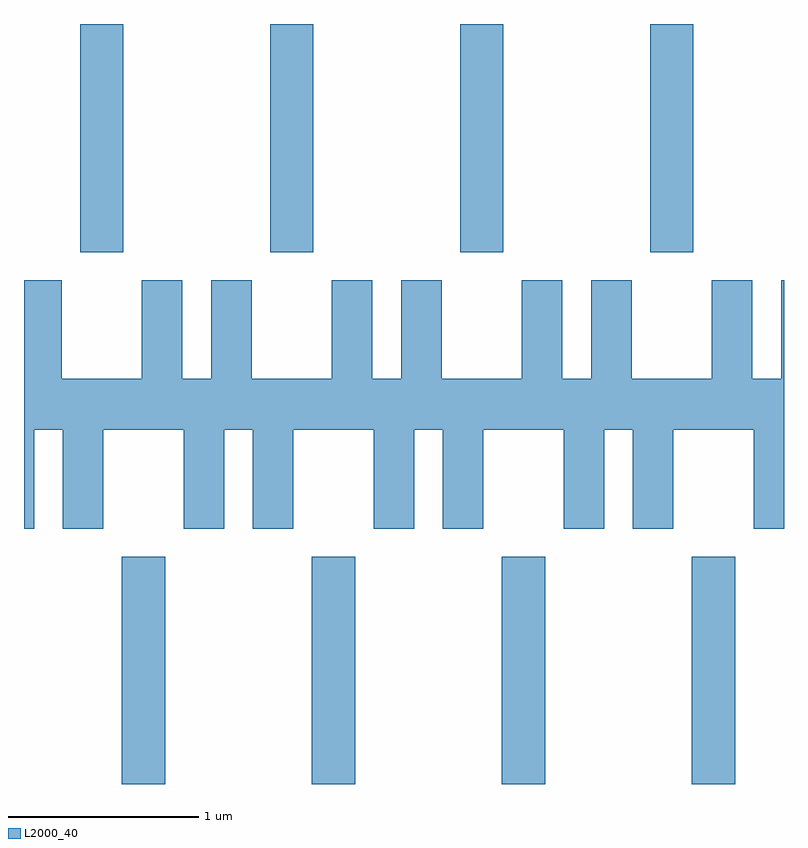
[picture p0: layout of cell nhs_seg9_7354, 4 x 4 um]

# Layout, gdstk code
import gdstk
lib = gdstk.Library(unit=1e-6, precision=1e-09)
def R(c, l, rs):  # rectangles x0, y0, x1, y1
    for r in rs: c.add(gdstk.rectangle(r[:2], r[2:], *l))
def A(c, l, x, y, w, h, nx, ny, dx, dy):  # array of equal rectangles
    R(c, l, [(x+i*dx, y+j*dy, x+i*dx+w, y+j*dy+h) for i in range(nx) for j in range(ny)])
def P(c, l, *ps):  # polygons
    for p in ps: c.add(gdstk.Polygon(p, *l))
L2000_40 = (2000, 40)

nhs_seg9_7354 = lib.new_cell('nhs_seg9_7354')
A(nhs_seg9_7354, L2000_40, 404.126, 1954.432, 0.228, 1.197, 4, 1, 1, 0)
A(nhs_seg9_7354, L2000_40, 403.906, 1957.231, 0.228, 1.201, 4, 1, 1, 0)
P(nhs_seg9_7354, L2000_40, [(403.664,1956.296),(403.816,1956.296),(403.816,1955.776),(404.029,1955.776),(404.029,1956.296),(404.451,1956.296),(404.451,1955.776),(404.664,1955.776),(404.664,1956.296),(404.816,1956.296),(404.816,1955.776),(405.029,1955.776),(405.029,1956.296),(405.451,1956.296),(405.451,1955.776),(405.664,1955.776),(405.664,1956.296),(405.816,1956.296),(405.816,1955.776),(406.029,1955.776),(406.029,1956.296),(406.451,1956.296),(406.451,1955.776),(406.664,1955.776),(406.664,1956.296),(406.816,1956.296),(406.816,1955.776),(407.029,1955.776),(407.029,1956.296),(407.451,1956.296),(407.451,1955.776),(407.611,1955.776),(407.611,1957.084),(407.596,1957.084),(407.596,1956.564),(407.444,1956.564),(407.444,1957.084),(407.231,1957.084),(407.231,1956.564),(406.809,1956.564),(406.809,1957.084),(406.596,1957.084),(406.596,1956.564),(406.444,1956.564),(406.444,1957.084),(406.231,1957.084),(406.231,1956.564),(405.809,1956.564),(405.809,1957.084),(405.596,1957.084),(405.596,1956.564),(405.444,1956.564),(405.444,1957.084),(405.231,1957.084),(405.231,1956.564),(404.809,1956.564),(404.809,1957.084),(404.596,1957.084),(404.596,1956.564),(404.444,1956.564),(404.444,1957.084),(404.231,1957.084),(404.231,1956.564),(403.809,1956.564),(403.809,1957.084),(403.611,1957.084),(403.611,1955.776),(403.664,1955.776)])

lib.write_gds('nhs_seg9_7354.gds')
